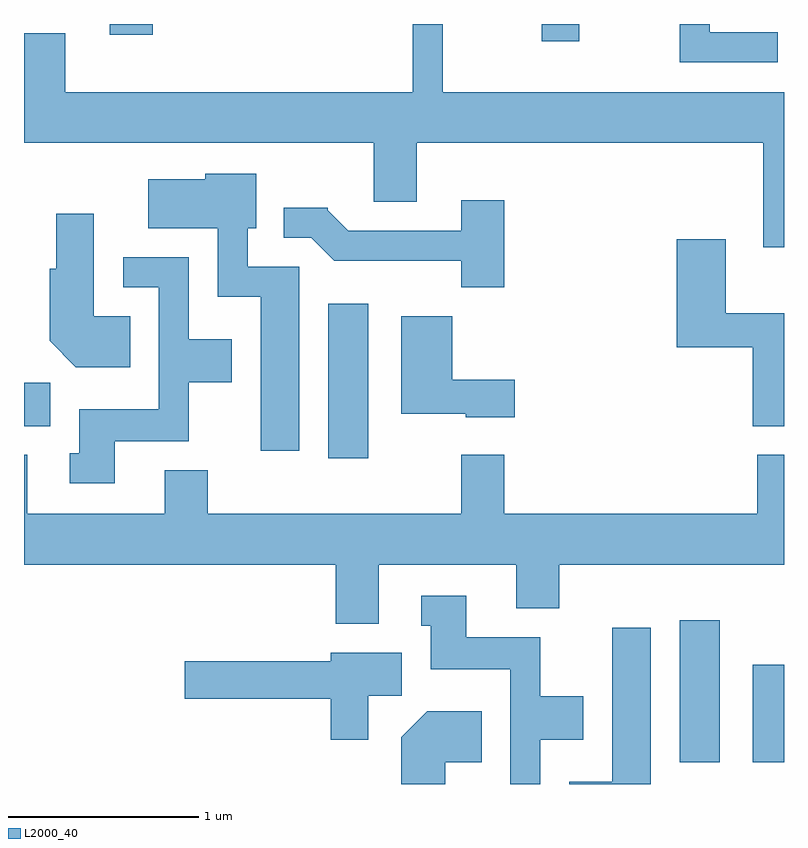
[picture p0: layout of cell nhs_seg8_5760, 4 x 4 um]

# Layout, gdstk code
import gdstk
lib = gdstk.Library(unit=1e-6, precision=1e-09)
def R(c, l, rs):  # rectangles x0, y0, x1, y1
    for r in rs: c.add(gdstk.rectangle(r[:2], r[2:], *l))
def P(c, l, *ps):  # polygons
    for p in ps: c.add(gdstk.Polygon(p, *l))
L2000_40 = (2000, 40)

nhs_seg8_5760 = lib.new_cell('nhs_seg8_5760')
R(nhs_seg8_5760, L2000_40, [(361.061,1866.456,361.274,1867.204), (361.446,1866.456,361.611,1866.969), (359.211,1868.056,359.424,1868.869), (357.611,1868.226,357.749,1868.454), (360.336,1870.251,360.534,1870.342), (358.061,1870.286,358.289,1870.342)])
P(nhs_seg8_5760, L2000_40, [(361.578,1870.299),(361.219,1870.299),(361.219,1870.342),(361.061,1870.342),(361.061,1870.141),(361.578,1870.141)],
  [(361.611,1869.984),(359.814,1869.984),(359.814,1870.342),(359.656,1870.342),(359.656,1869.984),(357.829,1869.984),(357.829,1870.294),(357.611,1870.294),(357.611,1869.716),(359.451,1869.716),(359.451,1869.406),(359.679,1869.406),(359.679,1869.716),(361.501,1869.716),(361.501,1869.168),(361.611,1869.168)],
  [(359.059,1869.064),(358.789,1869.064),(358.789,1869.266),(358.834,1869.266),(358.834,1869.554),(358.566,1869.554),(358.566,1869.524),(358.266,1869.524),(358.266,1869.266),(358.631,1869.266),(358.631,1868.906),(358.856,1868.906),(358.856,1868.096),(359.059,1868.096)],
  [(360.139,1869.414),(359.911,1869.414),(359.911,1869.254),(359.317,1869.254),(359.21,1869.361),(359.21,1869.374),(358.978,1869.374),(358.978,1869.216),(359.124,1869.216),(359.244,1869.096),(359.911,1869.096),(359.911,1868.956),(360.139,1868.956)],
  [(358.169,1868.804),(357.979,1868.804),(357.979,1869.344),(357.781,1869.344),(357.781,1869.054),(357.746,1869.054),(357.746,1868.674),(357.884,1868.536),(358.169,1868.536)],
  [(361.611,1868.819),(361.304,1868.819),(361.304,1869.209),(361.046,1869.209),(361.046,1868.641),(361.446,1868.641),(361.446,1868.226),(361.611,1868.226)],
  [(358.089,1868.146),(358.479,1868.146),(358.479,1868.456),(358.704,1868.456),(358.704,1868.684),(358.479,1868.684),(358.479,1869.114),(358.133,1869.114),(358.133,1868.956),(358.321,1868.956),(358.321,1868.314),(357.901,1868.314),(357.901,1868.084),(357.853,1868.084),(357.853,1867.926),(358.089,1867.926)],
  [(360.194,1868.469),(359.864,1868.469),(359.864,1868.804),(359.596,1868.804),(359.596,1868.291),(359.936,1868.291),(359.936,1868.271),(360.194,1868.271)],
  [(359.479,1867.496),(360.201,1867.496),(360.201,1867.266),(360.429,1867.266),(360.429,1867.496),(361.611,1867.496),(361.611,1868.074),(361.471,1868.074),(361.471,1867.764),(360.139,1867.764),(360.139,1868.074),(359.911,1868.074),(359.911,1867.764),(358.579,1867.764),(358.579,1867.994),(358.351,1867.994),(358.351,1867.764),(357.629,1867.764),(357.629,1868.074),(357.611,1868.074),(357.611,1867.496),(359.251,1867.496),(359.251,1867.186),(359.479,1867.186)],
  [(360.329,1866.576),(360.554,1866.576),(360.554,1866.804),(360.329,1866.804),(360.329,1867.114),(359.939,1867.114),(359.939,1867.334),(359.703,1867.334),(359.703,1867.176),(359.751,1867.176),(359.751,1866.946),(360.171,1866.946),(360.171,1866.342),(360.329,1866.342)],
  [(360.909,1867.164),(360.706,1867.164),(360.706,1866.354),(360.481,1866.354),(360.481,1866.342),(360.909,1866.342)],
  [(359.424,1866.806),(359.599,1866.806),(359.599,1867.034),(359.226,1867.034),(359.226,1866.989),(358.456,1866.989),(358.456,1866.791),(359.226,1866.791),(359.226,1866.576),(359.424,1866.576)],
  [(359.829,1866.456),(360.019,1866.456),(360.019,1866.724),(359.734,1866.724),(359.596,1866.587),(359.596,1866.342),(359.829,1866.342)])

lib.write_gds('nhs_seg8_5760.gds')
